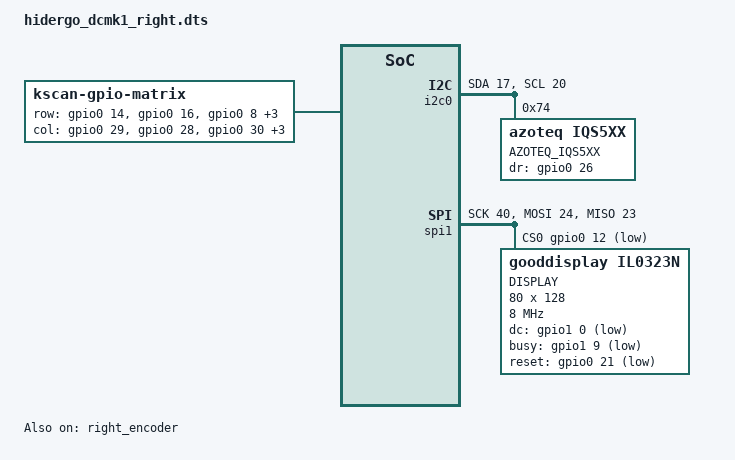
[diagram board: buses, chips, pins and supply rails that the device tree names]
#include "hidergo_dcmk1.dts"

&default_transform {// The matrix transform for this board is 6 columns over because the left half is 6 columns wide according to the matrix.
    col-offset = <7>;
};

/{

    chosen {
        zmk,mouse = &trackpad;
    };

    kscan0: kscan {
        compatible = "zmk,kscan-gpio-matrix";
        label = "KSCAN";
        diode-direction = "col2row";

        row-gpios
        = <&gpio0 14 (GPIO_ACTIVE_HIGH | GPIO_PULL_DOWN)> // Row 0 from the schematic file
        , <&gpio0 16 (GPIO_ACTIVE_HIGH | GPIO_PULL_DOWN)> // Row 1 from the schematic file
        , <&gpio0 8 (GPIO_ACTIVE_HIGH | GPIO_PULL_DOWN)> // Row 2 from the schematic file
        , <&gpio0 22 (GPIO_ACTIVE_HIGH | GPIO_PULL_DOWN)> // Row 3 from the schematic file
        , <&gpio0 6 (GPIO_ACTIVE_HIGH | GPIO_PULL_DOWN)> // Row 4 from the schematic file
        , <&gpio0 7 (GPIO_ACTIVE_HIGH | GPIO_PULL_DOWN)> // Row 5 from the schematic file


        ;
        //TODO: need to add col 6 and 7
        col-gpios
        = <&gpio0 29 GPIO_ACTIVE_HIGH> // Col 0 in the schematic
        , <&gpio0 28 GPIO_ACTIVE_HIGH> // Col 1 in the schematic
        , <&gpio0 30 GPIO_ACTIVE_HIGH> // Col 2 in the schematic
        , <&gpio0 31 GPIO_ACTIVE_HIGH> // Col 3 in the schematic
        , <&gpio0 27 GPIO_ACTIVE_HIGH> // Col 4 in the schematic
        , <&gpio0 4 GPIO_ACTIVE_HIGH> // Col 5 in the schematic
        ;
    };

};
 
&i2c0 {
	compatible = "nordic,nrf-twi";
	sda-pin = <17>;
	scl-pin = <20>;

	status = "okay";

	trackpad: trackpad@74 {
        compatible = "azoteq,iqs5xx";
        label = "AZOTEQ_IQS5XX";
        status = "okay";
        reg = <0x74>;
        dr-gpios = <&gpio0 26 GPIO_ACTIVE_HIGH>;
	};
};

&spi1 {
    status = "okay";
    compatible = "nordic,nrf-spim";
    sck-pin = <40>  ;
    mosi-pin = <24>;
    miso-pin = <23>;
    cs-gpios = <&gpio0 12 GPIO_ACTIVE_LOW>;

    epd: il0323n@0 {
        compatible = "gooddisplay,il0323n";
        reg = <0>;
        label = "DISPLAY";
        width = <80>;
        height = <128>;
        status = "okay";
        spi-max-frequency = <8000000>;
        dc-gpios = <&gpio1 0 GPIO_ACTIVE_LOW>;
        busy-gpios = <&gpio1 9 GPIO_ACTIVE_LOW>;
        reset-gpios = <&gpio0 21 GPIO_ACTIVE_LOW>;
    };
};

&right_encoder {
    status = "okay";
};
